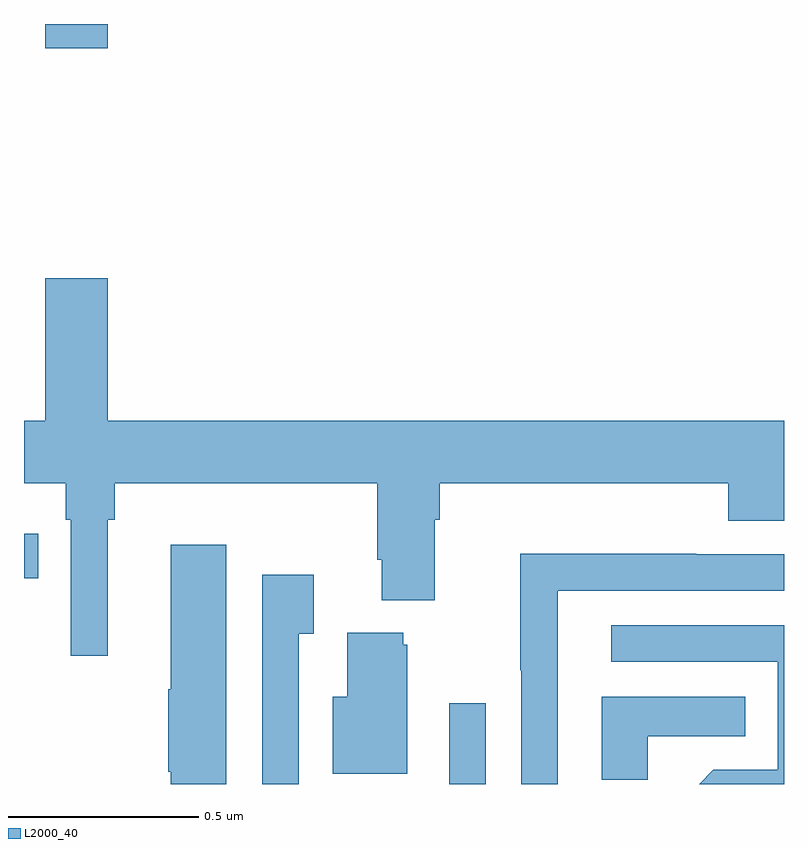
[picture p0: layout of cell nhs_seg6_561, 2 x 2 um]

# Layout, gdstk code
import gdstk
lib = gdstk.Library(unit=1e-6, precision=1e-09)
def R(c, l, rs):  # rectangles x0, y0, x1, y1
    for r in rs: c.add(gdstk.rectangle(r[:2], r[2:], *l))
def P(c, l, *ps):  # polygons
    for p in ps: c.add(gdstk.Polygon(p, *l))
L2000_40 = (2000, 40)

nhs_seg6_561 = lib.new_cell('nhs_seg6_561')
R(nhs_seg6_561, L2000_40, [(118.119,990.5,118.215,990.712), (117,991.042,117.038,991.158), (117.056,992.436,117.22,992.5)])
P(nhs_seg6_561, L2000_40, [(117.22,991.196),(117.239,991.196),(117.239,991.292),(117.929,991.292),(117.929,991.09),(117.941,991.09),(117.941,990.983),(118.081,990.983),(118.081,991.196),(118.094,991.196),(118.094,991.292),(118.853,991.292),(118.853,991.193),(119,991.193),(119,991.456),(117.22,991.456),(117.22,991.831),(117.056,991.831),(117.056,991.456),(117,991.456),(117,991.292),(117.11,991.292),(117.11,991.196),(117.123,991.196),(117.123,990.837),(117.22,990.837)],
  [(117.532,991.129),(117.386,991.129),(117.386,990.749),(117.379,990.749),(117.379,990.532),(117.386,990.532),(117.386,990.5),(117.532,990.5)],
  [(118.404,991.008),(119,991.008),(119,991.104),(118.769,991.104),(118.769,991.106),(118.306,991.106),(118.306,990.799),(118.308,990.799),(118.308,990.5),(118.404,990.5)],
  [(117.723,990.895),(117.763,990.895),(117.763,991.051),(117.627,991.051),(117.627,990.5),(117.723,990.5)],
  [(119,990.918),(118.545,990.918),(118.545,990.822),(118.983,990.822),(118.983,990.537),(118.814,990.537),(118.777,990.5),(119,990.5)],
  [(118.009,990.867),(117.998,990.867),(117.998,990.898),(117.851,990.898),(117.851,990.73),(117.812,990.73),(117.812,990.527),(118.009,990.527)],
  [(118.641,990.626),(118.898,990.626),(118.898,990.73),(118.52,990.73),(118.52,990.511),(118.641,990.511)])

lib.write_gds('nhs_seg6_561.gds')
